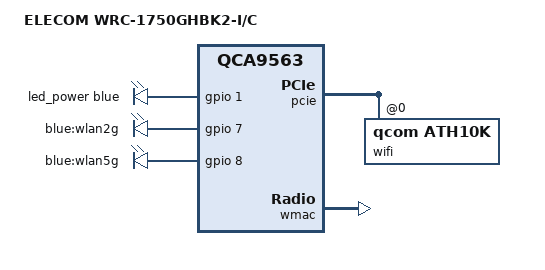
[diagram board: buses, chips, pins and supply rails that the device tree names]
// SPDX-License-Identifier: GPL-2.0-or-later OR MIT

#include <dt-bindings/leds/common.h>

#include "qca9563_elecom_wrc-ghbk2-i.dtsi"

/ {
	model = "ELECOM WRC-1750GHBK2-I/C";
	compatible = "elecom,wrc-1750ghbk2-i", "qca,qca9563";
};

&leds {
	led_power: power {
		function = LED_FUNCTION_POWER;
		color = <LED_COLOR_ID_BLUE>;
		gpios = <&gpio 1 GPIO_ACTIVE_HIGH>;
		default-state = "on";
	};

	wlan2g {
		label = "blue:wlan2g";
		gpios = <&gpio 7 GPIO_ACTIVE_HIGH>;
		linux,default-trigger = "phy1tpt";
	};

	wlan5g {
		label = "blue:wlan5g";
		gpios = <&gpio 8 GPIO_ACTIVE_HIGH>;
		linux,default-trigger = "phy0tpt";
	};
};

&partitions {
	partition@70000 {
		compatible = "denx,uimage";
		label = "firmware";
		reg = <0x070000 0xf70000>;
	};

	partition@fe0000 {
		label = "hwconfig";
		reg = <0xfe0000 0x010000>;
		read-only;
	};

	art: partition@ff0000 {
		label = "art";
		reg = <0xff0000 0x010000>;
		read-only;

		nvmem-layout {
			compatible = "fixed-layout";
			#address-cells = <1>;
			#size-cells = <1>;

			cal_art_1000: cal@1000 {
				reg = <0x1000 0x440>;
			};

			macaddr_art_1002: macaddr@1002 {
				compatible = "mac-base";
				reg = <0x1002 0x6>;
				#nvmem-cell-cells = <1>;
			};

			cal_art_5000: cal@5000 {
				reg = <0x5000 0x844>;
			};
		};
	};
};

&pcie {
	status = "okay";

	wifi@0,0 {
		compatible = "qcom,ath10k";
		reg = <0x0 0 0 0 0>;
		nvmem-cells = <&cal_art_5000>;
		nvmem-cell-names = "calibration";
	};
};

&eth0 {
	nvmem-cells = <&macaddr_art_1002 (-1)>;
	nvmem-cell-names = "mac-address";
};

&wmac {
	nvmem-cells = <&cal_art_1000>;
	nvmem-cell-names = "calibration";
};
